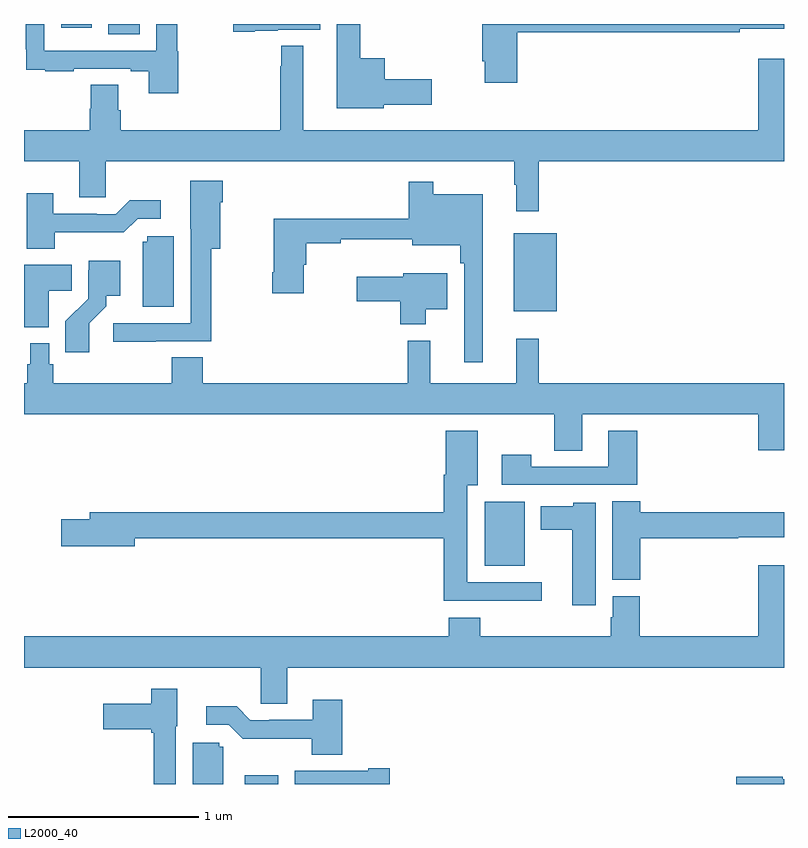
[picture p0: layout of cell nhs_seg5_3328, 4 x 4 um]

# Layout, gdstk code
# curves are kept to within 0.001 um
import gdstk
lib = gdstk.Library(unit=1e-6, precision=1e-09)
def R(c, l, rs):  # rectangles x0, y0, x1, y1
    for r in rs: c.add(gdstk.rectangle(r[:2], r[2:], *l))
def P(c, l, *ps):  # polygons
    for p in ps: c.add(gdstk.Polygon(p, *l))
L2000_40 = (2000, 40)

nhs_seg5_3328 = lib.new_cell('nhs_seg5_3328')
R(nhs_seg5_3328, L2000_40, [(306.162,870.799,306.339,870.844), (307.424,871.949,307.636,872.284), (307.577,873.287,307.804,873.697), (305.444,874.744,305.608,874.799), (305.195,874.779,305.356,874.799)])
P(nhs_seg5_3328, L2000_40, [(307.595,874.756),(308.768,874.756),(308.768,874.775),(309,874.775),(309,874.799),(307.412,874.799),(307.412,874.603),(307.424,874.603),(307.424,874.491),(307.595,874.491)],
  [(306.214,874.763),(306.336,874.763),(306.336,874.769),(306.559,874.769),(306.559,874.799),(306.102,874.799),(306.102,874.757),(306.214,874.757)],
  [(306.894,874.373),(307.147,874.373),(307.147,874.508),(306.898,874.508),(306.898,874.618),(306.769,874.618),(306.769,874.799),(306.647,874.799),(306.647,874.355),(306.894,874.355)],
  [(305.813,874.656),(305.806,874.656),(305.806,874.799),(305.697,874.799),(305.697,874.659),(305.106,874.659),(305.106,874.799),(305.01,874.799),(305.01,874.666),(305.011,874.666),(305.011,874.557),(305.113,874.557),(305.113,874.551),(305.261,874.551),(305.261,874.563),(305.561,874.563),(305.561,874.551),(305.657,874.551),(305.657,874.434),(305.813,874.434)],
  [(307.709,874.076),(309,874.076),(309,874.615),(308.864,874.615),(308.864,874.24),(306.469,874.24),(306.469,874.684),(306.355,874.684),(306.355,874.577),(306.348,874.577),(306.348,874.24),(305.51,874.24),(305.51,874.346),(305.497,874.346),(305.497,874.478),(305.35,874.478),(305.35,874.353),(305.345,874.353),(305.345,874.24),(305,874.24),(305,874.076),(305.291,874.076),(305.291,873.886),(305.43,873.886),(305.43,874.076),(307.581,874.076),(307.581,873.953),(307.592,873.953),(307.592,873.813),(307.709,873.813)],
  [(305.693,873.129),(305.986,873.129),(305.986,873.617),(306.034,873.617),(306.034,873.86),(306.047,873.86),(306.047,873.973),(305.876,873.973),(305.876,873.721),(305.877,873.721),(305.877,873.225),(305.469,873.225),(305.469,873.127),(305.693,873.127)],
  [(307.414,873.904),(307.153,873.904),(307.153,873.97),(307.024,873.97),(307.024,873.775),(306.314,873.775),(306.314,873.493),(306.307,873.493),(306.307,873.381),(306.472,873.381),(306.472,873.531),(306.485,873.531),(306.485,873.646),(306.668,873.646),(306.668,873.665),(307.043,873.665),(307.043,873.635),(307.297,873.635),(307.297,873.539),(307.317,873.539),(307.317,873.018),(307.414,873.018)],
  [(305.163,873.702),(305.525,873.702),(305.598,873.774),(305.719,873.774),(305.719,873.871),(305.557,873.871),(305.484,873.798),(305.384,873.798),(305.384,873.801),(305.155,873.801),(305.155,873.907),(305.015,873.907),(305.015,873.617),(305.163,873.617)],
  [(305.788,873.681),(305.649,873.681),(305.649,873.654),(305.624,873.654),(305.624,873.31),(305.788,873.31)],
  [(305.344,873.223),(305.434,873.313),(305.434,873.368),(305.506,873.368),(305.506,873.553),(305.342,873.553),(305.342,873.504),(305.337,873.504),(305.337,873.353),(305.218,873.234),(305.218,873.072),(305.344,873.072)],
  [(305.131,873.394),(305.252,873.394),(305.252,873.532),(305,873.532),(305,873.203),(305.131,873.203)],
  [(307.114,873.299),(307.228,873.299),(307.228,873.487),(306.996,873.487),(306.996,873.469),(306.75,873.469),(306.75,873.34),(306.98,873.34),(306.98,873.218),(307.114,873.218)],
  [(307.939,872.744),(308.864,872.744),(308.864,872.556),(309,872.556),(309,872.908),(307.709,872.908),(307.709,873.142),(307.592,873.142),(307.592,872.908),(307.139,872.908),(307.139,873.133),(307.021,873.133),(307.021,872.908),(305.942,872.908),(305.942,873.044),(305.777,873.044),(305.777,872.908),(305.153,872.908),(305.153,873.009),(305.133,873.009),(305.133,873.118),(305.032,873.118),(305.032,873.009),(305.017,873.009),(305.017,872.908),(305,872.908),(305,872.744),(307.792,872.744),(307.792,872.554),(307.939,872.554)],
  [(307.726,871.86),(307.333,871.86),(307.333,872.372),(307.387,872.372),(307.387,872.659),(307.22,872.659),(307.22,872.426),(307.208,872.426),(307.208,872.228),(305.345,872.228),(305.345,872.192),(305.196,872.192),(305.196,872.05),(305.584,872.05),(305.584,872.092),(307.208,872.092),(307.208,871.763),(307.726,871.763)],
  [(308.228,872.659),(308.075,872.659),(308.075,872.469),(307.671,872.469),(307.671,872.533),(307.515,872.533),(307.515,872.373),(308.228,872.373)],
  [(308.243,872.092),(308.76,872.092),(308.76,872.099),(309,872.099),(309,872.229),(308.76,872.229),(308.76,872.228),(308.243,872.228),(308.243,872.288),(308.096,872.288),(308.096,871.873),(308.243,871.873)],
  [(308.008,872.278),(307.89,872.278),(307.89,872.26),(307.721,872.26),(307.721,872.138),(307.886,872.138),(307.886,871.74),(308.008,871.74)],
  [(306.385,871.412),(309,871.412),(309,871.951),(308.864,871.951),(308.864,871.576),(308.24,871.576),(308.24,871.788),(308.099,871.788),(308.099,871.677),(308.087,871.677),(308.087,871.576),(307.4,871.576),(307.4,871.675),(307.235,871.675),(307.235,871.576),(305,871.576),(305,871.412),(306.246,871.412),(306.246,871.222),(306.385,871.222)],
  [(305.799,871.104),(305.806,871.104),(305.806,871.3),(305.67,871.3),(305.67,871.222),(305.418,871.222),(305.418,871.088),(305.67,871.088),(305.67,871.07),(305.683,871.07),(305.683,870.799),(305.799,870.799)],
  [(306.674,871.243),(306.521,871.243),(306.521,871.137),(306.292,871.137),(306.292,871.134),(306.192,871.134),(306.119,871.207),(305.958,871.207),(305.958,871.11),(306.078,871.11),(306.151,871.037),(306.514,871.038),(306.514,870.953),(306.674,870.953)],
  [(306.049,870.996),(306.027,870.996),(306.027,871.017),(305.888,871.017),(305.888,870.799),(306.049,870.799)],
  [(306.925,870.881),(306.812,870.881),(306.812,870.868),(306.424,870.868),(306.424,870.799),(306.925,870.799)],
  [(309,870.823),(308.994,870.823),(308.994,870.836),(308.748,870.836),(308.748,870.799),(309,870.799)])

lib.write_gds('nhs_seg5_3328.gds')
